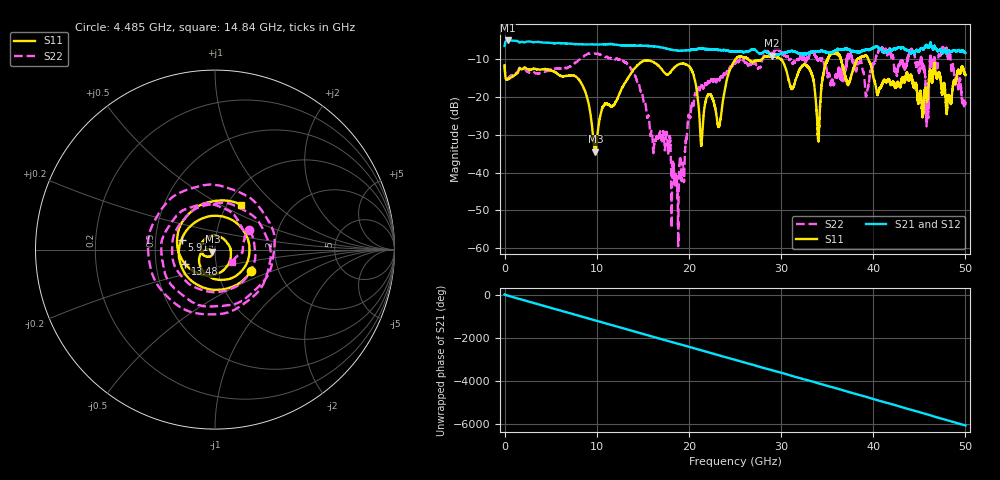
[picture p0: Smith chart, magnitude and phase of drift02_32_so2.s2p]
!Created with skrf (http://scikit-rf.org).
# Hz S RI R 50.0
!freq ReS11 ImS11 ReS21 ImS21 ReS12 ImS12 ReS22 ImS22
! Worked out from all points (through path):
!   10001 points, 300 kHz to 50 GHz, reference 50 ohm
!   highest |S21| = -5.04 dB at 325.3 MHz (marker M1); lowest = -9.0 dB at 29.05 GHz (marker M2)
!   group delay of S21, straight-line fit = 336 ps
!   lowest |S11| = -34.4 dB at 9.85 GHz (marker M3), VSWR 1.04, Z = 48.5 - j1.13 ohm
!   |S11| at or under -10 dB: start of sweep to 25.07 GHz; 29.98 GHz to 35.06 GHz (5.082 GHz wide, 15.6 % of centre); 39.47 GHz to end of sweep (the widest 3 of 8)
!   |S22| runs from -59.5 to -6.6 dB; largest |S21 - S12| = 0.024
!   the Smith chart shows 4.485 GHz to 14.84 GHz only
!   S11 on the Smith chart (normalised r, x): 4.485 GHz: 1.45, -0.36; 5.91 GHz: 0.68, +0.08; 13.48 GHz: 0.71, -0.12; 14.84 GHz: 1.16, +0.63
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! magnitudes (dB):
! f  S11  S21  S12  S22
! 300 kHz  -11.6  -6.5  -6.4  -11.6
! 325.3 MHz  -15.4  -5.0  -5.0  -15.0
! 4.485 GHz  -12.7  -5.6  -5.6  -13.2
! 5.91 GHz  -14.2  -5.7  -5.7  -12.4
! 8.335 GHz  -16.4  -6.0  -6.0  -9.6
! 9.85 GHz  -34.4  -6.1  -6.1  -8.6
! 13.48 GHz  -14.7  -6.4  -6.4  -11.6
! 14.84 GHz  -10.8  -6.4  -6.4  -18.5
! 16.67 GHz  -11.6  -6.7  -6.7  -30.8
! 18.69 GHz  -11.7  -7.7  -7.7  -42.8
! 20.38 GHz  -13.3  -7.5  -7.5  -21.6
! 21.37 GHz  -32.4  -7.3  -7.2  -17.0
! 23.31 GHz  -27.4  -7.5  -7.6  -15.6
! 25 GHz  -10.3  -8.0  -8.0  -11.1
! 29.05 GHz  -9.1  -9.0  -9.0  -8.1
! 33.34 GHz  -14.0  -8.0  -8.1  -8.1
! 34.02 GHz  -30.8  -7.9  -7.9  -10.2
! 35.51 GHz  -8.4  -8.1  -8.2  -15.5
! 41.67 GHz  -15.4  -7.7  -7.8  -7.6
! 45.85 GHz  -20.5  -6.7  -6.7  -20.7
! 47.77 GHz  -17.7  -7.6  -7.6  -7.5
! 50 GHz  -14.2  -8.4  -8.5  -20.7
